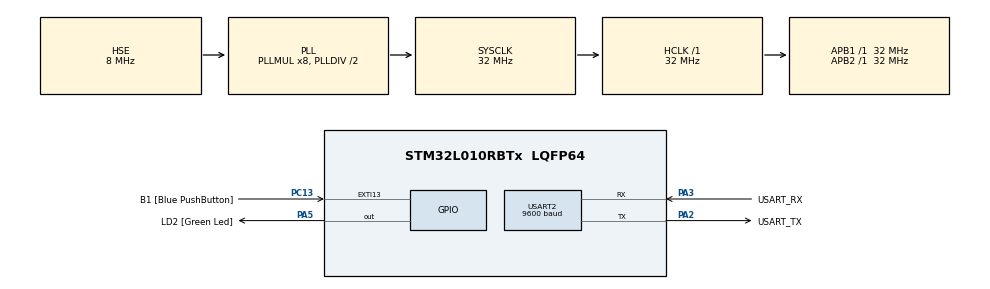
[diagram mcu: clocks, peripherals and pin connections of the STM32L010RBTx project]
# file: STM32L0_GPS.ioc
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Mcu.Family=STM32L0
RCC.MSI_VALUE=2097000
RCC.PLLSourceVirtual=RCC_PLLSOURCE_HSE
PC15-OSC32_OUT.Mode=LSE-External-Oscillator
PH0-OSC_IN.Signal=RCC_OSC_IN
PC13.Signal=GPXTI13
PA14.GPIO_Label=TCK
PC13.GPIO_Label=B1 [Blue PushButton]
PC14-OSC32_IN.Signal=RCC_OSC32_IN
NVIC.USART2_IRQn=true\:0\:0\:false\:false\:true\:true\:true
USART2.BaudRate=9600
RCC.SYSCLKSource=RCC_SYSCLKSOURCE_PLLCLK
ProjectManager.StackSize=0x400
PA3.Mode=Asynchronous
PA13.Signal=SYS_SWDIO
RCC.HSI16_VALUE=16000000
ProjectManager.TargetToolchain=STM32CubeIDE
RCC.HCLKFreq_Value=32000000
RCC.APB2TimFreq_Value=32000000
PC15-OSC32_OUT.Signal=RCC_OSC32_OUT
RCC.AHBFreq_Value=32000000
PH0-OSC_IN.Mode=HSE-External-Oscillator
PH0-OSC_IN.GPIO_Label=MCO
PA5.Signal=GPIO_Output
RCC.HSE_VALUE=8000000
board=NUCLEO-L010RB
USART2.VirtualMode-Asynchronous=VM_ASYNC
RCC.VCOOutputFreq_Value=64000000
RCC.PLLMUL=RCC_PLLMUL_8
RCC.APB2Freq_Value=32000000
PC14-OSC32_IN.Mode=LSE-External-Oscillator
PA14.Mode=Serial_Wire
PH1-OSC_OUT.Signal=RCC_OSC_OUT
PA13.Mode=Serial_Wire
Mcu.Name=STM32L010RBTx
PA2.Signal=USART2_TX
PA13.GPIO_Label=TMS
PH1-OSC_OUT.Mode=HSE-External-Oscillator
RCC.SYSCLKFreq_VALUE=32000000
Mcu.Package=LQFP64
PA5.GPIO_Label=LD2 [Green Led]
PC13.GPIO_ModeDefaultEXTI=GPIO_MODE_IT_FALLING
PA2.GPIO_Label=USART_TX
PA14.Signal=SYS_SWCLK
ProjectManager.HeapSize=0x200
RCC.HSI_VALUE=16000000
RCC.APB1TimFreq_Value=32000000
PA2.Mode=Asynchronous
RCC.APB1Freq_Value=32000000
RCC.HSI48_VALUE=48000000
PA3.GPIO_Label=USART_RX
PA3.Signal=USART2_RX

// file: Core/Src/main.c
/* USER CODE BEGIN Header */
/**
  ******************************************************************************
  * @file           : main.c
  * @brief          : Main program body
  ******************************************************************************
  * @attention
  *
  * <h2><center>&copy; Copyright (c) 2022 STMicroelectronics.
  * All rights reserved.</center></h2>
  *
  * This software component is licensed by ST under BSD 3-Clause license,
  * the "License"; You may not use this file except in compliance with the
  * License. You may obtain a copy of the License at:
  *                        opensource.org/licenses/BSD-3-Clause
  *
  ******************************************************************************
  */
/* USER CODE END Header */
#include "main.h"

/* USER CODE BEGIN Includes */
#include "uartRingBuffer.h"
#include "NMEA.h"
/* USER CODE END Includes */

UART_HandleTypeDef huart2;

void SystemClock_Config(void);
static void MX_GPIO_Init(void);
static void MX_USART2_UART_Init(void);

/* USER CODE BEGIN 0 */

char GGA[100];
char RMC[100];

int FLAG_GGA = 0;
int FLAG_RMC = 0;

int VCCTimeout = 5000; // GGA or RMC will not be received unless the VCC is sufficient.

GPSSTRUCT GPS_data;
/* USER CODE END 0 */

int main(void)
{

  /* MCU Configuration--------------------------------------------------------*/

  /* Reset of all peripherals, Initializes the Flash interface and the Systick. */
  HAL_Init();

  /* Configure the system clock */
  SystemClock_Config();

  /* Initialize all configured peripherals */
  MX_GPIO_Init();
  MX_USART2_UART_Init();
  /* USER CODE BEGIN 2 */

  Ringbuf_init();
  HAL_Delay(500);
  /* USER CODE END 2 */

  /* Infinite loop */
  while (1)
  {

    /* USER CODE BEGIN 3 */

	  if(Wait_for("GGA") == 1)
	  {
		  VCCTimeout = 5000;

		  Copy_upto("*", GGA);

		  if(decodeGGA(GGA, &GPS_data.ggastruct) == 0) FLAG_GGA = 2; /*Indicates the data is valid*/

		  else FLAG_GGA = 1; /*indicates the data is invalid*/
	  }

	  if(Wait_for("RMC") == 1)
	  {
		  VCCTimeout = 5000;

		  Copy_upto("*", RMC);

		  if(decodeRMC(RMC, &GPS_data.rmcstruct) == 0) FLAG_RMC = 2; /*Indicates the data is valid*/

		  else FLAG_RMC = 1; /*indicates the data is invalid*/
	  }
  }
  /* USER CODE END 3 */
}

void SystemClock_Config(void)
{
  RCC_OscInitTypeDef RCC_OscInitStruct = {0};
  RCC_ClkInitTypeDef RCC_ClkInitStruct = {0};
  RCC_PeriphCLKInitTypeDef PeriphClkInit = {0};

  /** Configure the main internal regulator output voltage
  */
  __HAL_PWR_VOLTAGESCALING_CONFIG(PWR_REGULATOR_VOLTAGE_SCALE1);
  /** Initializes the RCC Oscillators according to the specified parameters
  * in the RCC_OscInitTypeDef structure.
  */
  RCC_OscInitStruct.OscillatorType = RCC_OSCILLATORTYPE_HSE;
  RCC_OscInitStruct.HSEState = RCC_HSE_ON;
  RCC_OscInitStruct.PLL.PLLState = RCC_PLL_ON;
  RCC_OscInitStruct.PLL.PLLSource = RCC_PLLSOURCE_HSE;
  RCC_OscInitStruct.PLL.PLLMUL = RCC_PLLMUL_8;
  RCC_OscInitStruct.PLL.PLLDIV = RCC_PLLDIV_2;
  if (HAL_RCC_OscConfig(&RCC_OscInitStruct) != HAL_OK)
  {
    Error_Handler();
  }
  /** Initializes the CPU, AHB and APB buses clocks
  */
  RCC_ClkInitStruct.ClockType = RCC_CLOCKTYPE_HCLK|RCC_CLOCKTYPE_SYSCLK
                              |RCC_CLOCKTYPE_PCLK1|RCC_CLOCKTYPE_PCLK2;
  RCC_ClkInitStruct.SYSCLKSource = RCC_SYSCLKSOURCE_PLLCLK;
  RCC_ClkInitStruct.AHBCLKDivider = RCC_SYSCLK_DIV1;
  RCC_ClkInitStruct.APB1CLKDivider = RCC_HCLK_DIV1;
  RCC_ClkInitStruct.APB2CLKDivider = RCC_HCLK_DIV1;

  if (HAL_RCC_ClockConfig(&RCC_ClkInitStruct, FLASH_LATENCY_1) != HAL_OK)
  {
    Error_Handler();
  }
  PeriphClkInit.PeriphClockSelection = RCC_PERIPHCLK_USART2;
  PeriphClkInit.Usart2ClockSelection = RCC_USART2CLKSOURCE_PCLK1;
  if (HAL_RCCEx_PeriphCLKConfig(&PeriphClkInit) != HAL_OK)
  {
    Error_Handler();
  }
}

static void MX_USART2_UART_Init(void)
{

  huart2.Instance = USART2;
  huart2.Init.BaudRate = 9600;
  huart2.Init.WordLength = UART_WORDLENGTH_8B;
  huart2.Init.StopBits = UART_STOPBITS_1;
  huart2.Init.Parity = UART_PARITY_NONE;
  huart2.Init.Mode = UART_MODE_TX_RX;
  huart2.Init.HwFlowCtl = UART_HWCONTROL_NONE;
  huart2.Init.OverSampling = UART_OVERSAMPLING_16;
  huart2.Init.OneBitSampling = UART_ONE_BIT_SAMPLE_DISABLE;
  huart2.AdvancedInit.AdvFeatureInit = UART_ADVFEATURE_NO_INIT;
  if (HAL_UART_Init(&huart2) != HAL_OK)
  {
    Error_Handler();
  }

}

static void MX_GPIO_Init(void)
{
  GPIO_InitTypeDef GPIO_InitStruct = {0};

  /* GPIO Ports Clock Enable */
  __HAL_RCC_GPIOC_CLK_ENABLE();
  __HAL_RCC_GPIOH_CLK_ENABLE();
  __HAL_RCC_GPIOA_CLK_ENABLE();

  /*Configure GPIO pin Output Level */
  HAL_GPIO_WritePin(LD2_GPIO_Port, LD2_Pin, GPIO_PIN_RESET);

  /*Configure GPIO pin : B1_Pin */
  GPIO_InitStruct.Pin = B1_Pin;
  GPIO_InitStruct.Mode = GPIO_MODE_IT_FALLING;
  GPIO_InitStruct.Pull = GPIO_NOPULL;
  HAL_GPIO_Init(B1_GPIO_Port, &GPIO_InitStruct);

  /*Configure GPIO pin : LD2_Pin */
  GPIO_InitStruct.Pin = LD2_Pin;
  GPIO_InitStruct.Mode = GPIO_MODE_OUTPUT_PP;
  GPIO_InitStruct.Pull = GPIO_NOPULL;
  GPIO_InitStruct.Speed = GPIO_SPEED_FREQ_LOW;
  HAL_GPIO_Init(LD2_GPIO_Port, &GPIO_InitStruct);

}

void Error_Handler(void)
{
  __disable_irq();
  while (1)
  {
  }
}

/************************ (C) COPYRIGHT STMicroelectronics *****END OF FILE****/
